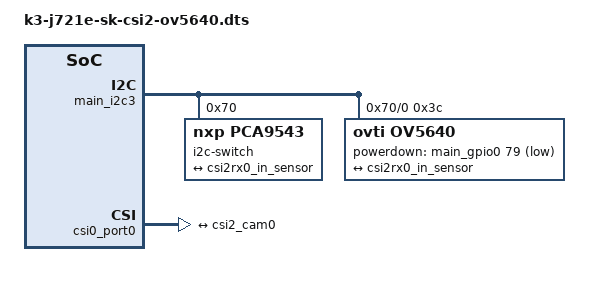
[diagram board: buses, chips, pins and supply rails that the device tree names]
// SPDX-License-Identifier: GPL-2.0
/**
 * LI OV5640 MIPI Camera module.
 *
 * Copyright (C) 2021 Texas Instruments Incorporated - https://www.ti.com/
 */

/dts-v1/;
/plugin/;

#include <dt-bindings/gpio/gpio.h>
#include <dt-bindings/interrupt-controller/irq.h>
#include <dt-bindings/pinctrl/k3.h>

&main_pmx0 {
	csi2_exp_reset_pins_default: csi2-exp-reset-pins-default {
		pinctrl-single,pins = <
			J721E_IOPAD(0x140, PIN_OUTPUT, 7) /* (AG29) PRG0_PRU1_GPO16.GPIO0_79 */
		>;
	};

	csi2_exp_refclk_pins_default: csi2-exp-refclk-pins-default {
		pinctrl-single,pins = <
			J721E_IOPAD(0x1A4, PIN_OUTPUT, 3) /* (W26) RGMII6_RXC.AUDIO_EXT_REFCLK2 */
		>;
	};
};

&k3_clks {
	/* Confiure AUDIO_EXT_REFCLK2 pin as output */
	pinctrl-names = "default";
	pinctrl-0 = <&csi2_exp_refclk_pins_default>;
};

&main_i2c3 {
	#address-cells = <1>;
	#size-cells = <0>;

	i2c-switch@70 {
		compatible = "nxp,pca9543";
		#address-cells = <1>;
		#size-cells = <0>;
		reg = <0x70>;

		/* CAM0 I2C */
		ti_cam0_i2c: i2c@0 {
			#address-cells = <1>;
			#size-cells = <0>;
			reg = <0>;

			ov5640: camera@3c {
				compatible = "ovti,ov5640";
				reg = <0x3c>;

				pinctrl-names = "default";
				pinctrl-0 = <&csi2_exp_reset_pins_default>;
				powerdown-gpios = <&main_gpio0 79 GPIO_ACTIVE_LOW>;

				/* C_AUDIO_REFCLK3 -> RGMII6_RXC (W26) */
				clocks = <&k3_clks 157 371>;
				clock-names = "xclk";

				/* HSDIV3_16FFT_MAIN_4_HSDIVOUT2_CLK -> REFCLK2 */
				assigned-clocks = <&k3_clks 157 371>;
				assigned-clock-parents = <&k3_clks 157 400>;
				assigned-clock-rates = <25000000>;

				port {
					csi2_cam0: endpoint {
						remote-endpoint = <&csi2rx0_in_sensor>;
						clock-lanes = <0>;
						data-lanes = <1 2>;
					};
				};
			};
		};

	};
};

&csi0_port0 {
	csi2rx0_in_sensor: endpoint {
		remote-endpoint = <&csi2_cam0>;
		bus-type = <4>; /* CSI2 DPHY. */
		clock-lanes = <0>;
		data-lanes = <1 2>;
	};

};
